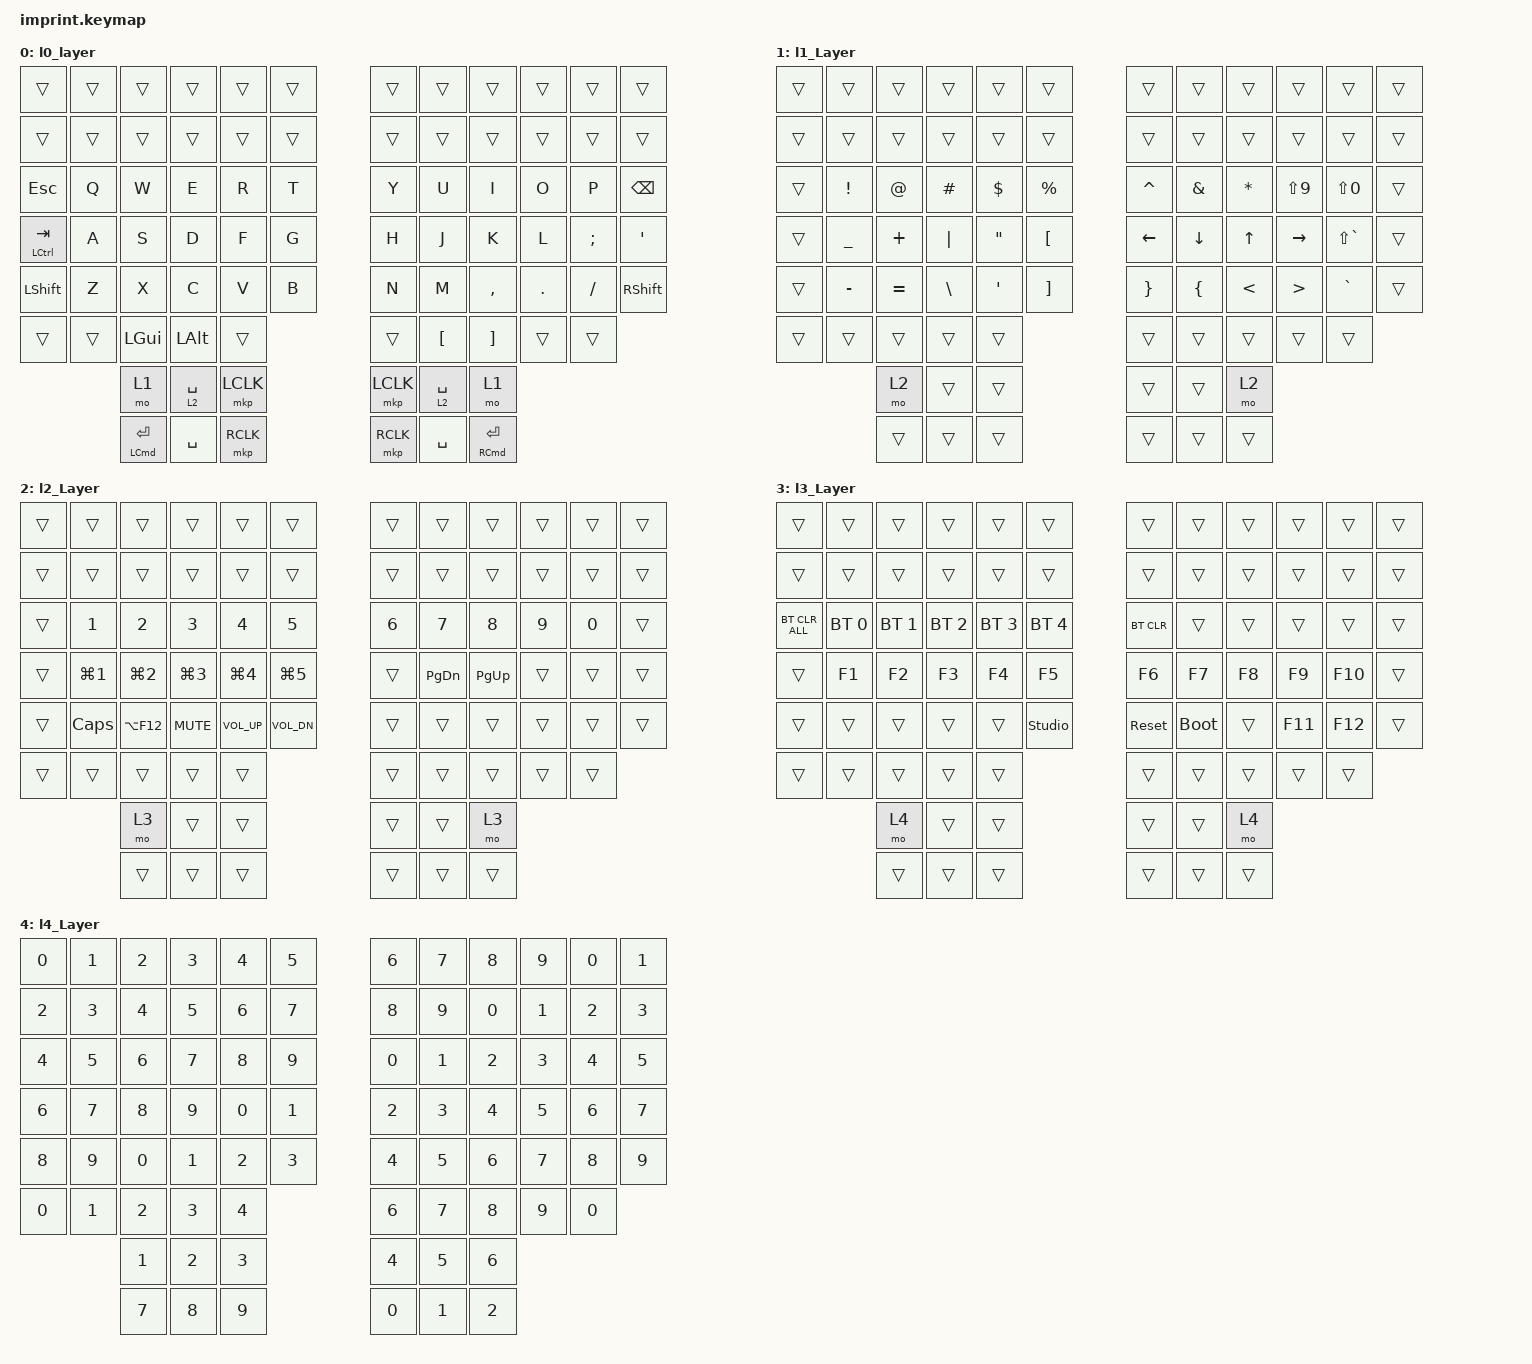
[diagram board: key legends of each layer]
#include <input/processors.dtsi>
#include <dt-bindings/zmk/input_transform.h>
#include <behaviors.dtsi>
#include <dt-bindings/zmk/bt.h>
#include <dt-bindings/zmk/keys.h>
#include <dt-bindings/zmk/pointing.h>
#include <dt-bindings/zmk/rgb.h>

/ {
    chosen { zmk,matrix-transform = &imprint_function_row_full_bottom_row; };

    keymap {
        compatible = "zmk,keymap";

        l0_layer { bindings = <

&trans     &trans  &trans    &trans    &trans    &trans                 &trans     &trans       &trans       &trans    &trans     &trans
&trans     &trans  &trans    &trans    &trans    &trans                 &trans     &trans       &trans       &trans    &trans     &trans

&kp ESC         &kp Q   &kp W       &kp E      &kp R   &kp T            &kp Y      &kp U        &kp I        &kp O     &kp P      &kp BSPC
&mt LCTRL TAB   &kp A   &kp S       &kp D      &kp F   &kp G            &kp H      &kp J        &kp K        &kp L     &kp SEMI   &kp SQT
&kp LSHFT       &kp Z   &kp X       &kp C      &kp V   &kp B            &kp N      &kp M        &kp COMMA    &kp DOT   &kp FSLH   &kp RSHFT

&trans          &trans  &kp LGUI    &kp LALT   &trans                   &trans     &kp LBKT     &kp RBKT     &trans    &trans 

/*
 *                  left: 4 1 2 3      right: 1 2 3 6 
 *                            5 6             4 5
 *      &kp N1    &kp N2   &kp N3             &kp N1   &kp N2  &kp N3
 *      &kp N4    &kp N5   &kp N6             &kp N4   &kp N5  &kp N6
 */
                   &mo 1           &lt 2 SPACE   &mkp LCLK              &mkp LCLK  &lt 2 SPACE  &mo 1 
                   &mt LCMD RET    &kp SPACE     &mkp RCLK              &mkp RCLK  &kp SPACE    &mt RCMD RET

        >; };

        l1_Layer {
            bindings = <

&trans  &trans  &trans  &trans  &trans  &trans            &trans  &trans    &trans    &trans     &trans  &trans
&trans  &trans  &trans  &trans  &trans  &trans            &trans  &trans    &trans    &trans     &trans  &trans

&trans   &kp EXCL    &kp AT      &kp HASH      &kp DLLR      &kp PRCNT            &kp CARET     &kp AMPS       &kp ASTRK         &kp LS(N9)       &kp LS(N0)       &trans
&trans   &kp UNDER   &kp PLUS    &kp PIPE      &kp DQT       &kp LBKT             &kp LEFT      &kp DOWN       &kp UP            &kp RIGHT        &kp LS(GRAVE)    &trans
&trans   &kp MINUS   &kp EQUAL   &kp BSLH      &kp SQT       &kp RBKT             &kp RBRC      &kp LBRC       &kp LT            &kp GT           &kp GRAVE        &trans

&trans   &trans      &trans      &trans        &trans                                           &trans         &trans            &trans           &trans           &trans
                           
                       &mo 2   &trans    &trans        &trans  &trans  &mo 2 
                       &trans  &trans    &trans        &trans  &trans  &trans

        >; };

        l2_Layer { bindings = <

&trans  &trans  &trans  &trans  &trans  &trans            &trans  &trans    &trans    &trans     &trans  &trans
&trans  &trans  &trans  &trans  &trans  &trans            &trans  &trans    &trans    &trans     &trans  &trans

&trans    &kp N1       &kp N2        &kp N3       &kp N4         &kp N5                &kp N6    &kp N7    &kp N8     &kp N9    &kp N0    &trans 
&trans    &kp LG(N1)   &kp LG(N2)    &kp LG(N3)   &kp LG(N4)     &kp LG(N5)            &trans    &kp PG_DN &kp PG_UP  &trans    &trans    &trans
&trans    &kp CAPS     &kp LA(F12)   &kp C_MUTE   &kp C_VOL_UP   &kp C_VOL_DN          &trans    &trans    &trans     &trans    &trans    &trans

&trans   &trans      &trans      &trans        &trans                                           &trans         &trans            &trans           &trans           &trans

                           &mo 3    &trans   &trans                             &trans  &trans  &mo 3 
                           &trans   &trans   &trans                             &trans  &trans  &trans


        >; };

        l3_Layer { bindings = <

&trans  &trans  &trans     &trans     &trans     &trans            &trans  &trans  &trans  &trans  &trans  &trans
&trans  &trans  &trans     &trans     &trans     &trans            &trans  &trans  &trans  &trans  &trans  &trans

&bt BT_CLR_ALL    &bt BT_SEL 0    &bt BT_SEL 1     &bt BT_SEL 2        &bt BT_SEL 3        &bt BT_SEL 4                    &bt BT_CLR     &trans         &trans     &trans    &trans    &trans 
&trans    &kp F1          &kp F2           &kp F3              &kp F4              &kp F5                          &kp F6         &kp F7         &kp F8     &kp F9    &kp F10   &trans
&trans    &trans          &trans           &trans              &trans              &studio_unlock                  &sys_reset     &bootloader    &trans     &kp F11   &kp F12   &trans  

&trans    &trans          &trans           &trans              &trans                                                             &trans         &trans     &trans    &trans    &trans

                     &mo 4   &trans   &trans                                    &trans  &trans  &mo 4  
                     &trans  &trans   &trans                                    &trans  &trans  &trans
            
        >; };

        l4_Layer { bindings = <
&kp N0  &kp N1  &kp N2  &kp N3  &kp N4  &kp N5            &kp N6  &kp N7  &kp N8  &kp N9  &kp N0  &kp N1
&kp N2  &kp N3  &kp N4  &kp N5  &kp N6  &kp N7            &kp N8  &kp N9  &kp N0  &kp N1  &kp N2  &kp N3

&kp N4  &kp N5  &kp N6  &kp N7  &kp N8  &kp N9            &kp N0  &kp N1  &kp N2  &kp N3  &kp N4  &kp N5
&kp N6  &kp N7  &kp N8  &kp N9  &kp N0  &kp N1            &kp N2  &kp N3  &kp N4  &kp N5  &kp N6  &kp N7
&kp N8  &kp N9  &kp N0  &kp N1  &kp N2  &kp N3            &kp N4  &kp N5  &kp N6  &kp N7  &kp N8  &kp N9

&kp N0  &kp N1  &kp N2  &kp N3  &kp N4                            &kp N6  &kp N7  &kp N8  &kp N9  &kp N0

                                &kp N1  &kp N2  &kp N3    &kp N4  &kp N5  &kp N6
                                &kp N7  &kp N8  &kp N9    &kp N0  &kp N1  &kp N2

        >; };


    };
};

// right hand trackball configuration

// &trackball_peripheral_listener {
//    input-processors =
//     activate layer 3 within 500ms of the trackball moving
//     <&zip_temp_layer 3 500>;
// };

//left hand trackball configuration

&trackball_central_listener {
    input-processors =
        // multiply sensitivity by 1, divide by 3 (make it slower for scrolling),
        <&zip_xy_scaler 1 3>,
        // make this trackball output scrolling events by default instead of cursor movement,
        <&zip_xy_to_scroll_mapper>,
        // invert vertical scrolling so that the view moves in the same direction as the top of the trackball.,
        <&zip_scroll_transform INPUT_TRANSFORM_Y_INVERT>;
};
